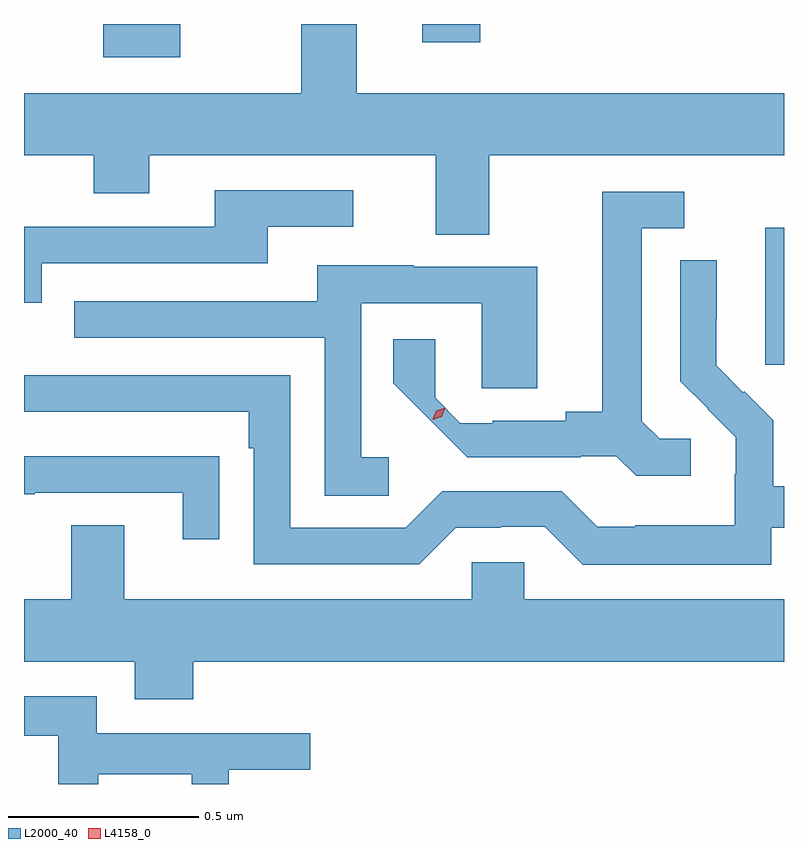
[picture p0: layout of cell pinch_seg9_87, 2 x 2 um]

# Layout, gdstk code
import gdstk
lib = gdstk.Library(unit=1e-6, precision=1e-09)
def R(c, l, rs):  # rectangles x0, y0, x1, y1
    for r in rs: c.add(gdstk.rectangle(r[:2], r[2:], *l))
def P(c, l, *ps):  # polygons
    for p in ps: c.add(gdstk.Polygon(p, *l))
L2000_40 = (2000, 40)
L4158_0 = (4158, 0)

pinch_seg9_87 = lib.new_cell('pinch_seg9_87')
R(pinch_seg9_87, L2000_40, [(1147.028,1202.529,1147.077,1202.89), (1145.285,1203.339,1145.488,1203.426), (1146.125,1203.378,1146.278,1203.426)])
P(pinch_seg9_87, L2000_40, [(1146.301,1203.08),(1147.077,1203.08),(1147.077,1203.244),(1145.952,1203.244),(1145.952,1203.426),(1145.806,1203.426),(1145.806,1203.244),(1145.077,1203.244),(1145.077,1203.08),(1145.26,1203.08),(1145.26,1202.981),(1145.407,1202.981),(1145.407,1203.08),(1146.161,1203.08),(1146.161,1202.872),(1146.301,1202.872)],
  [(1145.124,1202.796),(1145.719,1202.796),(1145.719,1202.892),(1145.944,1202.892),(1145.944,1202.988),(1145.579,1202.988),(1145.579,1202.892),(1145.077,1202.892),(1145.077,1202.693),(1145.124,1202.693)],
  [(1146.832,1202.334),(1146.75,1202.334),(1146.703,1202.381),(1146.703,1202.889),(1146.814,1202.889),(1146.814,1202.985),(1146.599,1202.985),(1146.599,1202.405),(1146.503,1202.405),(1146.503,1202.382),(1146.31,1202.382),(1146.31,1202.376),(1146.225,1202.376),(1146.159,1202.442),(1146.159,1202.596),(1146.049,1202.596),(1146.049,1202.48),(1146.243,1202.286),(1146.542,1202.286),(1146.542,1202.289),(1146.636,1202.289),(1146.688,1202.237),(1146.832,1202.237)],
  [(1147.044,1202.1),(1147.077,1202.1),(1147.077,1202.209),(1147.049,1202.209),(1147.049,1202.383),(1146.972,1202.46),(1146.969,1202.457),(1146.899,1202.528),(1146.899,1202.65),(1146.9,1202.65),(1146.9,1202.804),(1146.804,1202.804),(1146.804,1202.486),(1146.877,1202.413),(1146.876,1202.412),(1146.95,1202.338),(1146.95,1202.241),(1146.948,1202.241),(1146.948,1202.107),(1146.685,1202.107),(1146.685,1202.103),(1146.585,1202.103),(1146.492,1202.196),(1146.177,1202.196),(1146.081,1202.1),(1145.778,1202.1),(1145.778,1202.502),(1145.077,1202.502),(1145.077,1202.406),(1145.669,1202.406),(1145.669,1202.309),(1145.682,1202.309),(1145.682,1202.004),(1146.117,1202.004),(1146.213,1202.1),(1146.332,1202.1),(1146.332,1202.103),(1146.447,1202.103),(1146.547,1202.003),(1147.044,1202.003)],
  [(1146.037,1202.286),(1145.964,1202.286),(1145.964,1202.691),(1146.281,1202.691),(1146.281,1202.467),(1146.427,1202.467),(1146.427,1202.787),(1146.103,1202.787),(1146.103,1202.791),(1145.849,1202.791),(1145.849,1202.697),(1145.209,1202.697),(1145.209,1202.601),(1145.868,1202.601),(1145.868,1202.185),(1146.037,1202.185)],
  [(1145.591,1202.288),(1145.489,1202.288),(1145.489,1202.289),(1145.077,1202.289),(1145.077,1202.188),(1145.105,1202.188),(1145.105,1202.193),(1145.495,1202.193),(1145.495,1202.07),(1145.591,1202.07)],
  [(1145.522,1201.748),(1147.077,1201.748),(1147.077,1201.912),(1146.393,1201.912),(1146.393,1202.01),(1146.255,1202.01),(1146.255,1201.912),(1145.341,1201.912),(1145.341,1202.107),(1145.201,1202.107),(1145.201,1201.912),(1145.077,1201.912),(1145.077,1201.748),(1145.369,1201.748),(1145.369,1201.649),(1145.522,1201.649)],
  [(1145.273,1201.452),(1145.518,1201.452),(1145.518,1201.426),(1145.616,1201.426),(1145.616,1201.464),(1145.83,1201.464),(1145.83,1201.56),(1145.268,1201.56),(1145.268,1201.657),(1145.077,1201.657),(1145.077,1201.553),(1145.167,1201.553),(1145.167,1201.426),(1145.273,1201.426)])
P(pinch_seg9_87, L4158_0, [(1146.152,1202.385),(1146.152,1202.386),(1146.162,1202.408),(1146.185,1202.416),(1146.186,1202.416),(1146.186,1202.416),(1146.176,1202.393),(1146.153,1202.385)])

lib.write_gds('pinch_seg9_87.gds')
